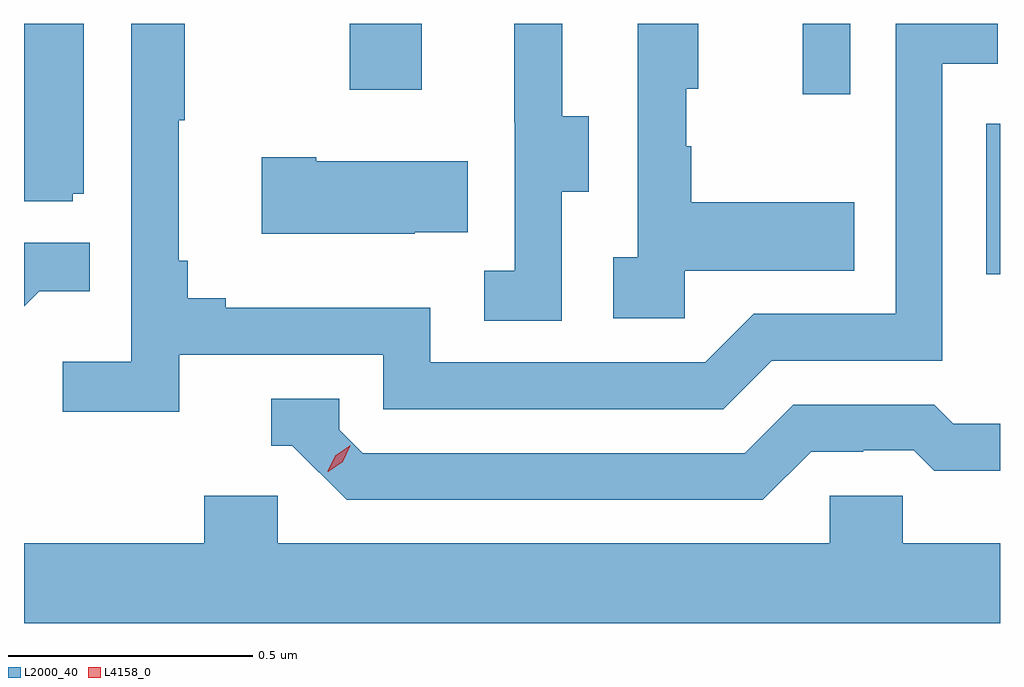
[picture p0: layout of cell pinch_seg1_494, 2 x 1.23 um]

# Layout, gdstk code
import gdstk
lib = gdstk.Library(unit=1e-6, precision=1e-09)
def R(c, l, rs):  # rectangles x0, y0, x1, y1
    for r in rs: c.add(gdstk.rectangle(r[:2], r[2:], *l))
def P(c, l, *ps):  # polygons
    for p in ps: c.add(gdstk.Polygon(p, *l))
L2000_40 = (2000, 40)
L4158_0 = (4158, 0)

pinch_seg1_494 = lib.new_cell('pinch_seg1_494')
R(pinch_seg1_494, L2000_40, [(1104.414,525.807,1104.442,526.116), (1104.038,526.176,1104.135,526.321), (1103.11,526.185,1103.257,526.321)])
P(pinch_seg1_494, L2000_40, [(1103.796,525.815),(1104.143,525.815),(1104.143,525.955),(1103.809,525.955),(1103.809,526.07),(1103.799,526.07),(1103.799,526.188),(1103.824,526.188),(1103.824,526.321),(1103.7,526.321),(1103.7,525.842),(1103.649,525.842),(1103.649,525.717),(1103.796,525.717)],
  [(1103.544,525.976),(1103.599,525.976),(1103.599,526.131),(1103.545,526.131),(1103.545,526.321),(1103.447,526.321),(1103.447,526.119),(1103.448,526.119),(1103.448,525.815),(1103.385,525.815),(1103.385,525.712),(1103.544,525.712)],
  [(1102.76,525.642),(1103.178,525.642),(1103.178,525.531),(1103.875,525.531),(1103.974,525.63),(1104.324,525.63),(1104.324,526.239),(1104.437,526.239),(1104.437,526.321),(1104.228,526.321),(1104.228,525.726),(1103.937,525.726),(1103.838,525.627),(1103.274,525.627),(1103.274,525.739),(1102.855,525.739),(1102.855,525.758),(1102.778,525.758),(1102.778,525.835),(1102.759,525.835),(1102.759,526.123),(1102.771,526.123),(1102.771,526.321),(1102.662,526.321),(1102.662,525.628),(1102.521,525.628),(1102.521,525.526),(1102.76,525.526)],
  [(1102.542,525.972),(1102.564,525.972),(1102.564,526.321),(1102.442,526.321),(1102.442,525.957),(1102.542,525.957)],
  [(1103.243,525.893),(1103.351,525.893),(1103.351,526.039),(1103.041,526.039),(1103.041,526.047),(1102.929,526.047),(1102.929,525.89),(1103.243,525.89)],
  [(1102.473,525.773),(1102.577,525.773),(1102.577,525.872),(1102.442,525.872),(1102.442,525.742)],
  [(1104.055,525.444),(1104.162,525.444),(1104.162,525.447),(1104.265,525.447),(1104.307,525.405),(1104.442,525.405),(1104.442,525.501),(1104.346,525.501),(1104.307,525.54),(1104.018,525.54),(1103.919,525.441),(1103.136,525.441),(1103.088,525.489),(1103.088,525.552),(1102.949,525.552),(1102.949,525.456),(1102.992,525.456),(1103.103,525.345),(1103.956,525.345)],
  [(1104.442,525.256),(1104.243,525.256),(1104.243,525.354),(1104.093,525.354),(1104.093,525.256),(1102.962,525.256),(1102.962,525.354),(1102.811,525.354),(1102.811,525.256),(1102.442,525.256),(1102.442,525.092),(1104.442,525.092)])
P(pinch_seg1_494, L4158_0, [(1103.064,525.403),(1103.064,525.404),(1103.08,525.436),(1103.11,525.456),(1103.111,525.456),(1103.111,525.456),(1103.095,525.423),(1103.065,525.403)])

lib.write_gds('pinch_seg1_494.gds')
